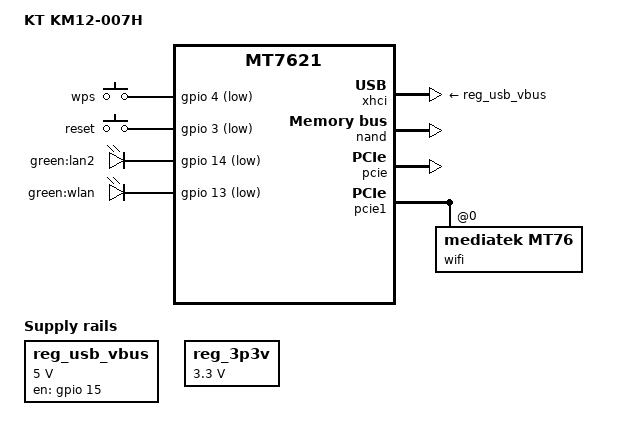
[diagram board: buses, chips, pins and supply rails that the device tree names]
// SPDX-License-Identifier: GPL-2.0-or-later OR MIT
/* Copyright (c) 2026, Galal <galal2009@gmail.com> */

#include "mt7621.dtsi"

#include <dt-bindings/gpio/gpio.h>
#include <dt-bindings/input/input.h>

/ {
	compatible = "kt,km12-007h", "mediatek,mt7621-soc";
	model = "KT KM12-007H";

	aliases {
		led-boot = &led_wlan;
		led-failsafe = &led_lan2;
		led-running = &led_wlan;
		led-upgrade = &led_lan2;
		label-mac-device = &gmac0;
	};

	chosen {
		bootargs = "console=ttyS0,115200";
	};

	keys {
		compatible = "gpio-keys";

		key-0 {
			label = "wps";
			gpios = <&gpio 4 GPIO_ACTIVE_LOW>;
			linux,code = <KEY_WPS_BUTTON>;
		};

		key-1 {
			label = "reset";
			gpios = <&gpio 3 GPIO_ACTIVE_LOW>;
			linux,code = <KEY_RESTART>;
		};
	};

	leds {
		compatible = "gpio-leds";
  
      led_lan2: lan2 {
			label = "green:lan2";
			gpios = <&gpio 14 GPIO_ACTIVE_LOW>;
		};

		led_wlan: wlan {
			label = "green:wlan";
			gpios = <&gpio 13 GPIO_ACTIVE_LOW>;
			linux,default-trigger = "phy0radio";
		};
	};

	reg_usb_vbus: regulator-usb {
		compatible = "regulator-fixed";
		regulator-name = "usb_vbus";
		regulator-min-microvolt = <5000000>;
		regulator-max-microvolt = <5000000>;
		gpios = <&gpio 15 GPIO_ACTIVE_HIGH>;
		enable-active-high;
	};

	reg_3p3v: regulator-3p3v {
		compatible = "regulator-fixed";
		regulator-name = "fixed-3.3V";
		regulator-min-microvolt = <3300000>;
		regulator-max-microvolt = <3300000>;
		regulator-boot-on;
		regulator-always-on;
	};
};

&xhci {
	vusb33-supply = <&reg_3p3v>;
	vbus-supply = <&reg_usb_vbus>;
};

&state_default {
	gpio {
		groups = "i2c", "jtag", "uart3", "wdt";
		function = "gpio";
	};
};

&gmac0 {
	nvmem-cells = <&macaddr_config_60004>;
	nvmem-cell-names = "mac-address";
};

&nand {
	status = "okay";

	mediatek,nmbm;

	partitions {
		compatible = "fixed-partitions";
		#address-cells = <1>;
		#size-cells = <1>;

		partition@0 {
			label = "Bootloader";
			reg = <0x0 0x80000>;
			read-only;
		};

		partition@80000 {
			label = "Config";
			reg = <0x80000 0x80000>;

			nvmem-layout {
				compatible = "fixed-layout";
				#address-cells = <1>;
				#size-cells = <1>;

				macaddr_config_60004: macaddr@60004 {
					reg = <0x60004 0x6>;
				};
				};
			};

		factory: partition@100000 {
			label = "Factory";
			reg = <0x100000 0x40000>;
		};

		partition@140000 {
				label = "kernel";
			reg = <0x140000 0x400000>;
			};

		partition@540000 {
				label = "ubi";
			reg = <0x540000 0x7A40000>;
		};
	};
};

&pcie {
	status = "okay";
};

&pcie1 {
	wifi@0,0 {
		compatible = "mediatek,mt76";
		reg = <0x0000 0 0 0 0>;
    mediatek,mtd-eeprom = <&factory 0x0>;
		mediatek,disable-radar-background;
	};
};

&switch0 {
	ports {
		port@0 {
			status = "okay";
			label = "wan";
		};

		port@1 {
			status = "okay";
			label = "lan4";
		};

		port@2 {
			status = "okay";
			label = "lan3";
		};

		port@3 {
			status = "okay";
			label = "lan2";
		};

		port@4 {
			status = "okay";
			label = "lan1";
		};
	};
};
